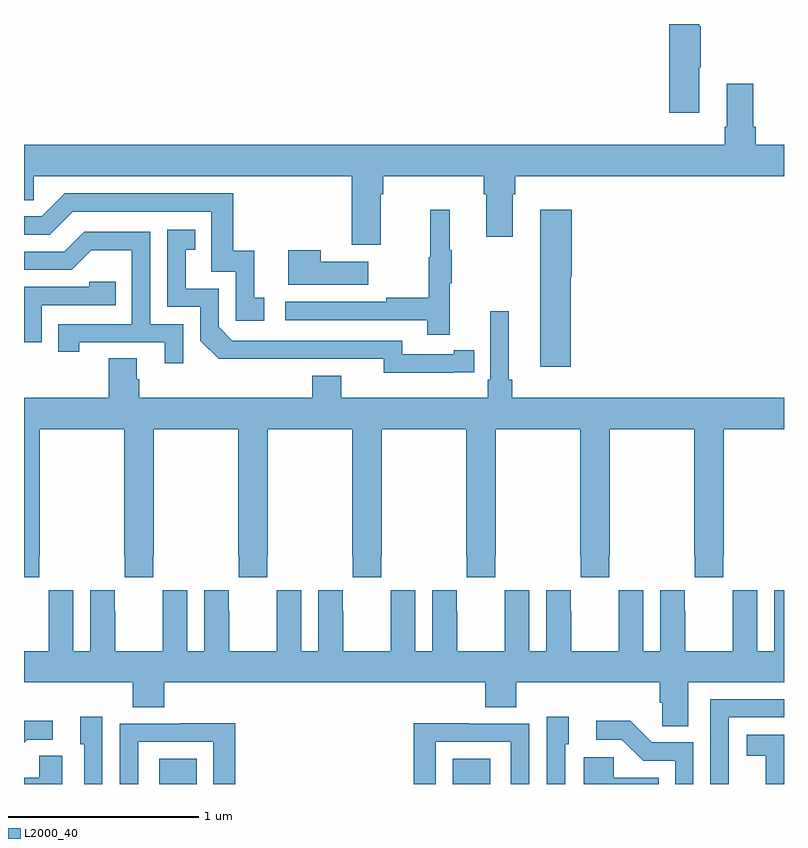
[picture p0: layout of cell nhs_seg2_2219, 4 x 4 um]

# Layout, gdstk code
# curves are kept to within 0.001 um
import gdstk
lib = gdstk.Library(unit=1e-6, precision=1e-09)
def R(c, l, rs):  # rectangles x0, y0, x1, y1
    for r in rs: c.add(gdstk.rectangle(r[:2], r[2:], *l))
def P(c, l, *ps):  # polygons
    for p in ps: c.add(gdstk.Polygon(p, *l))
L2000_40 = (2000, 40)

nhs_seg2_2219 = lib.new_cell('nhs_seg2_2219')
R(nhs_seg2_2219, L2000_40, [(227.711,613.8,227.908,613.933), (229.256,613.8,229.453,613.933)])
P(nhs_seg2_2219, L2000_40, [(230.554,617.572),(230.562,617.572),(230.562,617.789),(230.554,617.789),(230.554,617.8),(230.396,617.8),(230.396,617.334),(230.554,617.334)],
  [(228.877,616.904),(228.89,616.904),(228.89,617),(229.421,617),(229.421,616.904),(229.433,616.904),(229.433,616.68),(229.573,616.68),(229.573,616.904),(229.586,616.904),(229.586,617),(231,617),(231,617.164),(230.852,617.164),(230.852,617.26),(230.839,617.26),(230.839,617.485),(230.699,617.485),(230.699,617.26),(230.687,617.26),(230.687,617.164),(227,617.164),(227,616.873),(227.052,616.873),(227.052,617),(228.725,617),(228.725,616.638),(228.877,616.638)],
  [(228.265,616.359),(228.212,616.359),(228.212,616.606),(228.101,616.606),(228.101,616.908),(227.214,616.908),(227.094,616.788),(227,616.788),(227,616.692),(227.136,616.692),(227.256,616.812),(227.985,616.812),(227.985,616.497),(228.114,616.497),(228.114,616.239),(228.265,616.239)],
  [(229.241,616.435),(229.252,616.435),(229.252,616.609),(229.241,616.609),(229.241,616.822),(229.138,616.822),(229.138,616.572),(229.131,616.572),(229.131,616.358),(228.907,616.358),(228.907,616.338),(228.375,616.338),(228.375,616.242),(229.123,616.242),(229.123,616.164),(229.241,616.164)],
  [(229.877,616.47),(229.882,616.47),(229.882,616.822),(229.718,616.822),(229.718,615.996),(229.877,615.996)],
  [(229.262,615.966),(229.37,615.966),(229.37,616.082),(229.262,616.082),(229.262,616.062),(228.99,616.062),(228.99,616.134),(228.096,616.134),(228.024,616.206),(228.024,616.407),(227.851,616.407),(227.851,616.611),(227.9,616.611),(227.9,616.717),(227.754,616.717),(227.754,616.311),(227.928,616.311),(227.928,616.134),(228.026,616.037),(228.894,616.038),(228.894,615.965)],
  [(227.838,616.221),(227.664,616.221),(227.664,616.707),(227.318,616.707),(227.213,616.602),(227,616.602),(227,616.506),(227.25,616.506),(227.354,616.61),(227.568,616.61),(227.568,616.221),(227.179,616.221),(227.179,616.074),(227.29,616.074),(227.29,616.125),(227.741,616.125),(227.741,616.014),(227.838,616.014)],
  [(228.811,616.549),(228.563,616.549),(228.563,616.609),(228.392,616.609),(228.392,616.427),(228.811,616.427)],
  [(227.094,616.32),(227.483,616.32),(227.483,616.443),(227.343,616.443),(227.343,616.416),(227,616.416),(227,616.125),(227.094,616.125)],
  [(227.079,615.001),(227.082,615.001),(227.082,615.668),(227.527,615.668),(227.527,615.001),(227.529,615.001),(227.529,614.889),(227.679,614.889),(227.679,615.001),(227.682,615.001),(227.682,615.668),(228.127,615.668),(228.127,615.001),(228.129,615.001),(228.129,614.889),(228.279,614.889),(228.279,615.001),(228.282,615.001),(228.282,615.668),(228.727,615.668),(228.727,615.001),(228.729,615.001),(228.729,614.889),(228.879,614.889),(228.879,615.001),(228.882,615.001),(228.882,615.668),(229.327,615.668),(229.327,615.001),(229.329,615.001),(229.329,614.889),(229.479,614.889),(229.479,615.001),(229.482,615.001),(229.482,615.668),(229.927,615.668),(229.927,615.001),(229.929,615.001),(229.929,614.889),(230.079,614.889),(230.079,615.001),(230.082,615.001),(230.082,615.668),(230.527,615.668),(230.527,615.001),(230.529,615.001),(230.529,614.889),(230.679,614.889),(230.679,615.001),(230.682,615.001),(230.682,615.668),(231,615.668),(231,615.832),(229.571,615.832),(229.571,615.928),(229.552,615.928),(229.552,616.288),(229.455,616.288),(229.455,615.928),(229.442,615.928),(229.442,615.832),(228.67,615.832),(228.67,615.949),(228.518,615.949),(228.518,615.832),(227.606,615.832),(227.606,615.93),(227.593,615.93),(227.593,616.04),(227.446,616.04),(227.446,615.832),(227,615.832),(227,614.889),(227.079,614.889)],
  [(230.497,614.336),(231,614.336),(231,614.821),(230.948,614.821),(230.948,614.5),(230.86,614.5),(230.86,614.821),(230.73,614.821),(230.73,614.708),(230.729,614.708),(230.729,614.5),(230.479,614.5),(230.479,614.708),(230.478,614.708),(230.478,614.821),(230.348,614.821),(230.348,614.5),(230.26,614.5),(230.26,614.821),(230.13,614.821),(230.13,614.708),(230.129,614.708),(230.129,614.5),(229.879,614.5),(229.879,614.708),(229.878,614.708),(229.878,614.821),(229.748,614.821),(229.748,614.5),(229.66,614.5),(229.66,614.821),(229.53,614.821),(229.53,614.708),(229.529,614.708),(229.529,614.5),(229.279,614.5),(229.279,614.708),(229.278,614.708),(229.278,614.821),(229.148,614.821),(229.148,614.5),(229.06,614.5),(229.06,614.821),(228.93,614.821),(228.93,614.708),(228.929,614.708),(228.929,614.5),(228.679,614.5),(228.679,614.708),(228.678,614.708),(228.678,614.821),(228.548,614.821),(228.548,614.5),(228.46,614.5),(228.46,614.821),(228.33,614.821),(228.33,614.708),(228.329,614.708),(228.329,614.5),(228.079,614.5),(228.079,614.708),(228.078,614.708),(228.078,614.821),(227.948,614.821),(227.948,614.5),(227.86,614.5),(227.86,614.821),(227.73,614.821),(227.73,614.708),(227.729,614.708),(227.729,614.5),(227.479,614.5),(227.479,614.708),(227.478,614.708),(227.478,614.821),(227.348,614.821),(227.348,614.5),(227.26,614.5),(227.26,614.821),(227.13,614.821),(227.13,614.708),(227.129,614.708),(227.129,614.5),(227,614.5),(227,614.336),(227.573,614.336),(227.573,614.203),(227.738,614.203),(227.738,614.336),(229.427,614.336),(229.427,614.203),(229.592,614.203),(229.592,614.336),(230.345,614.336),(230.345,614.227),(230.358,614.227),(230.358,614.104),(230.497,614.104)],
  [(230.709,614.151),(231,614.151),(231,614.247),(230.613,614.247),(230.613,613.8),(230.709,613.8)],
  [(227.412,614.155),(227.297,614.155),(227.297,614.01),(227.316,614.01),(227.316,613.8),(227.412,613.8)],
  [(229.848,614.01),(229.867,614.01),(229.867,614.155),(229.752,614.155),(229.752,613.8),(229.848,613.8)],
  [(227.017,614.034),(227.152,614.034),(227.152,614.132),(227,614.132),(227,614.017)],
  [(230.523,614.019),(230.304,614.019),(230.191,614.132),(230.013,614.132),(230.013,614.034),(230.147,614.034),(230.258,613.923),(230.427,613.923),(230.427,613.8),(230.523,613.8)],
  [(227.601,614.022),(227.997,614.022),(227.997,613.8),(228.113,613.8),(228.113,614.12),(227.821,614.12),(227.821,614.118),(227.505,614.118),(227.505,613.8),(227.601,613.8)],
  [(229.167,614.022),(229.563,614.022),(229.563,613.8),(229.659,613.8),(229.659,614.118),(229.343,614.118),(229.343,614.12),(229.051,614.12),(229.051,613.8),(229.167,613.8)],
  [(231,614.059),(230.805,614.059),(230.805,613.949),(230.903,613.949),(230.903,613.8),(231,613.8)],
  [(227.2,613.949),(227.079,613.949),(227.079,613.834),(227,613.834),(227,613.8),(227.2,613.8)],
  [(230.342,613.834),(230.103,613.834),(230.103,613.942),(229.946,613.942),(229.946,613.8),(230.342,613.8)])

lib.write_gds('nhs_seg2_2219.gds')
